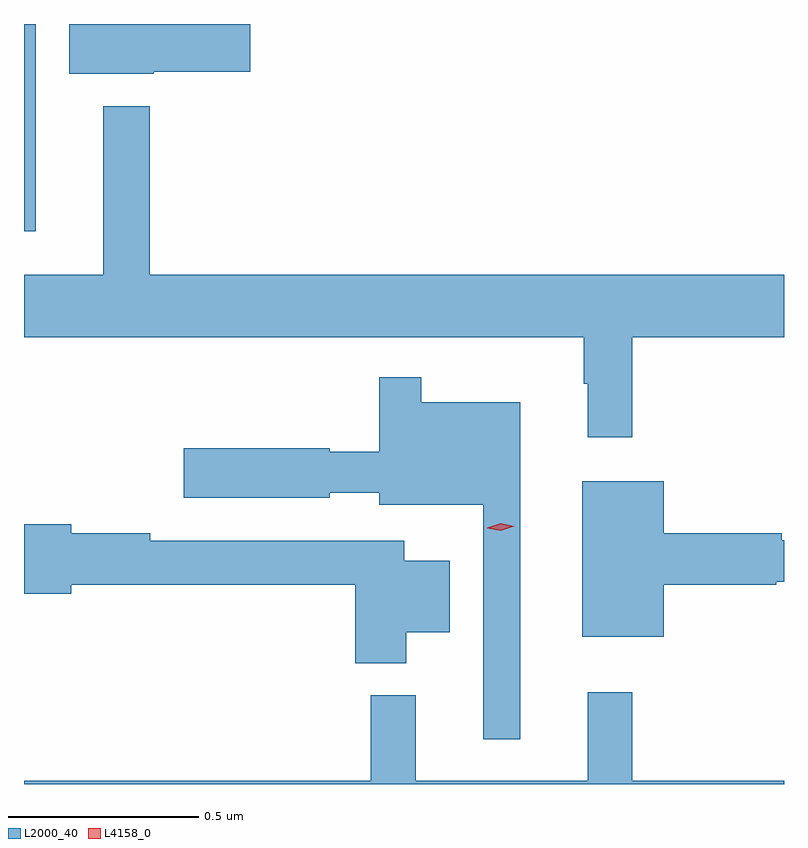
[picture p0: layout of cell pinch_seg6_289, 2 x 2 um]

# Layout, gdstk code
import gdstk
lib = gdstk.Library(unit=1e-6, precision=1e-09)
def R(c, l, rs):  # rectangles x0, y0, x1, y1
    for r in rs: c.add(gdstk.rectangle(r[:2], r[2:], *l))
def P(c, l, *ps):  # polygons
    for p in ps: c.add(gdstk.Polygon(p, *l))
L2000_40 = (2000, 40)
L4158_0 = (4158, 0)

pinch_seg6_289 = lib.new_cell('pinch_seg6_289')
R(pinch_seg6_289, L2000_40, [(870.21,994.235,870.241,994.78)])
P(pinch_seg6_289, L2000_40, [(870.552,994.655),(870.805,994.655),(870.805,994.78),(870.329,994.78),(870.329,994.649),(870.552,994.649)],
  [(871.811,993.956),(872.21,993.956),(872.21,994.12),(870.541,994.12),(870.541,994.564),(870.419,994.564),(870.419,994.12),(870.21,994.12),(870.21,993.956),(871.683,993.956),(871.683,993.833),(871.694,993.833),(871.694,993.693),(871.811,993.693)],
  [(871.516,993.784),(871.255,993.784),(871.255,993.85),(871.145,993.85),(871.145,993.655),(871.014,993.655),(871.014,993.663),(870.63,993.663),(870.63,993.533),(871.014,993.533),(871.014,993.546),(871.145,993.546),(871.145,993.515),(871.419,993.515),(871.419,992.898),(871.516,992.898)],
  [(871.894,993.304),(872.19,993.304),(872.19,993.312),(872.21,993.312),(872.21,993.421),(872.204,993.421),(872.204,993.44),(871.894,993.44),(871.894,993.577),(871.679,993.577),(871.679,993.167),(871.894,993.167)],
  [(871.216,993.179),(871.33,993.179),(871.33,993.367),(871.21,993.367),(871.21,993.42),(870.542,993.42),(870.542,993.44),(870.334,993.44),(870.334,993.464),(870.21,993.464),(870.21,993.281),(870.334,993.281),(870.334,993.304),(871.082,993.304),(871.082,993.098),(871.216,993.098)],
  [(872.21,992.788),(871.811,992.788),(871.811,993.022),(871.694,993.022),(871.694,992.788),(871.241,992.788),(871.241,993.013),(871.123,993.013),(871.123,992.788),(870.21,992.788),(870.21,992.78),(872.21,992.78)])
P(pinch_seg6_289, L4158_0, [(871.465,993.446),(871.429,993.453),(871.429,993.453),(871.429,993.454),(871.464,993.466),(871.5,993.458),(871.5,993.458),(871.5,993.458)])

lib.write_gds('pinch_seg6_289.gds')
